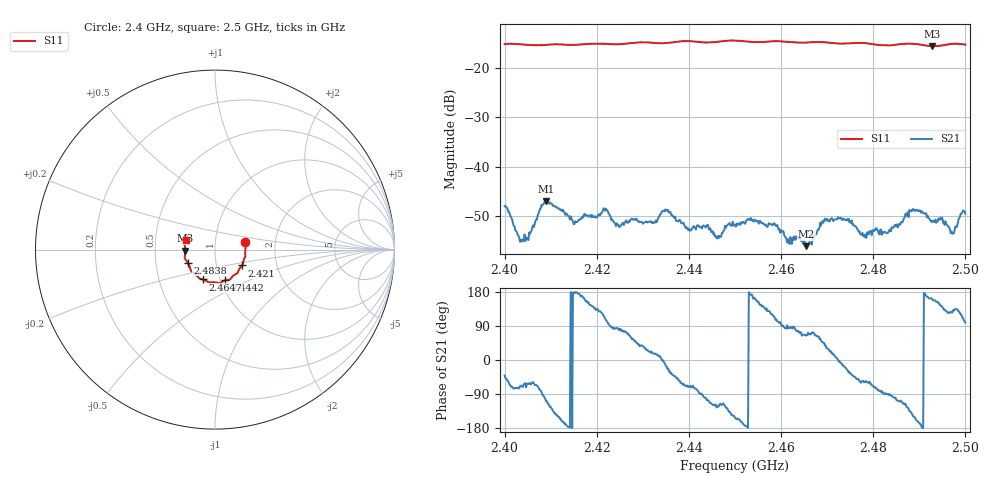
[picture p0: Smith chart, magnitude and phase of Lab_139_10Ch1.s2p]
# Hz S RI R 50
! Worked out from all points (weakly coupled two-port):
!   601 points, 2.4 GHz to 2.5 GHz, reference 50 ohm
!   highest |S21| = -46.89 dB at 2.409 GHz (marker M1); lowest = -56.0 dB at 2.4655 GHz (marker M2)
!   lowest |S11| = -15.6 dB at 2.4928 GHz (marker M3), VSWR 1.40, Z = 35.8 - j0.375 ohm
!   |S11| at or under -10 dB: start of sweep to end of sweep
!   S12 and S22 are empty: the file has one direction only
!   S11 on the Smith chart (normalised r, x): 2.4 GHz: 1.40, +0.12; 2.421 GHz: 1.33, -0.24; 2.4442 GHz: 1.05, -0.37; 2.4647 GHz: 0.83, -0.29; 2.4838 GHz: 0.73, -0.11; 2.5 GHz: 0.72, +0.08
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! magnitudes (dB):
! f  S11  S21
! 2.4 GHz  -15.2  -47.9
! 2.4037 GHz  -15.3  -55.1
! 2.409 GHz  -15.4  -46.9
! 2.4167 GHz  -15.3  -50.4
! 2.421 GHz  -15.1  -49.4
! 2.4247 GHz  -15.2  -51.7
! 2.4333 GHz  -15.0  -50.3
! 2.4442 GHz  -14.9  -51.8
! 2.4465 GHz  -14.7  -54.3
! 2.45 GHz  -14.5  -51.7
! 2.4647 GHz  -14.9  -55.2
! 2.4655 GHz  -14.9  -56.0
! 2.4667 GHz  -14.8  -55.7
! 2.469 GHz  -14.8  -50.9
! 2.4725 GHz  -15.1  -50.3
! 2.478 GHz  -15.0  -53.8
! 2.4833 GHz  -15.5  -53.1
! 2.4838 GHz  -15.4  -53.1
! 2.4883 GHz  -15.1  -49.0
! 2.4928 GHz  -15.6  -50.8
! 2.4972 GHz  -15.2  -53.5
! 2.5 GHz  -15.3  -49.5
